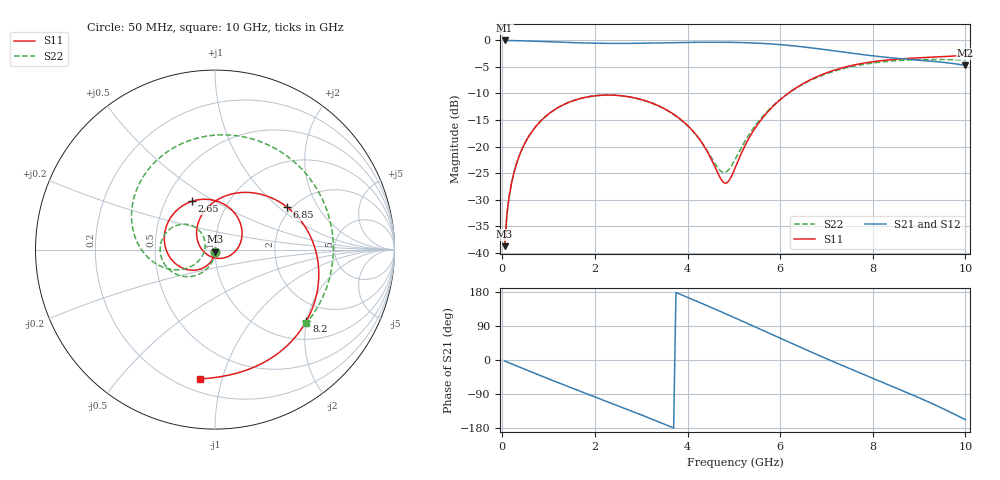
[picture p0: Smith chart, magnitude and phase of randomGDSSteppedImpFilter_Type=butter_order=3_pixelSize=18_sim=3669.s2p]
! freq	dB(S11)	phase(S11)	dB(S12)	phase(S12)
!  dB(S21)	phase(S21)	dB(S22)	phase(S22)
!S-par simulation data
#  GHz  S  DB  R 50
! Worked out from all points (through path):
!   200 points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, 50 MHz to 10 GHz, reference 50 ohm
!   highest |S21| = -0.01 dB at 50 MHz (marker M1); lowest = -4.7 dB at 10 GHz (marker M2)
!   group delay of S21, straight-line fit = 144 ps
!   lowest |S11| = -38.8 dB at 50 MHz (marker M3), VSWR 1.02, Z = 49.9 - j1.15 ohm
!   |S11| at or under -10 dB: start of sweep to 6.169 GHz
!   |S22| runs from -38.8 to -3.6 dB; largest |S21 - S12| = 0
!   S11 on the Smith chart (normalised r, x): 50 MHz: 1.00, -0.02; 2.65 GHz: 0.68, +0.40; 6.85 GHz: 1.89, +1.14; 8.2 GHz: 1.46, -2.00; 10 GHz: 0.28, -0.85
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0.05  -38.78 -92.6  -0.01 -2.6  -0.01 -2.6  -38.77 -91.8
0.1  -32.80 -95.7  -0.01 -5.1  -0.01 -5.1  -32.79 -94.1
0.2  -26.86 -101.8  -0.03 -10.1  -0.03 -10.1  -26.85 -98.7
0.5  -19.17 -119.6  -0.09 -25.2  -0.09 -25.2  -19.15 -111.7
1.15  -12.94 -157.1  -0.30 -57.1  -0.30 -57.1  -12.93 -138.3
1.75  -10.81 168.7  -0.48 -85.6  -0.48 -85.6  -10.80 -161.3
2.65  -10.51 115.5  -0.56 -128.0  -0.56 -128.0  -10.52 167.2
3.4  -12.43 66.7  -0.47 -164.4  -0.47 -164.4  -12.46 144.0
4.1  -16.92 12.6  -0.36 160.2  -0.36 160.2  -16.98 129.6
4.8  -26.89 -102.5  -0.34 123.3  -0.34 123.3  -24.90 173.5
5.05  -23.55 -173.0  -0.38 109.8  -0.38 109.8  -22.04 -153.7
5.8  -12.83 103.4  -0.66 68.7  -0.66 68.7  -12.67 -151.2
6.25  -9.49 69.7  -0.99 43.9  -0.99 43.9  -9.52 -165.9
6.7  -7.22 39.9  -1.43 19.4  -1.43 19.4  -7.34 175.9
6.85  -6.63 30.6  -1.60 11.3  -1.60 11.3  -6.78 169.3
7.55  -4.72 -8.1  -2.42 -25.2  -2.42 -25.2  -4.93 135.9
8.2  -3.79 -38.0  -3.10 -58.2  -3.10 -58.2  -4.05 100.6
8.35  -3.66 -44.1  -3.23 -65.8  -3.23 -65.8  -3.93 91.7
8.85  -3.34 -62.6  -3.62 -91.6  -3.62 -91.6  -3.67 59.2
9.35  -3.13 -78.6  -3.98 -118.9  -3.98 -118.9  -3.60 21.2
9.7  -2.97 -88.6  -4.31 -139.2  -4.31 -139.2  -3.63 -9.5
10  -2.78 -96.7  -4.72 -157.6  -4.72 -157.6  -3.70 -38.8
